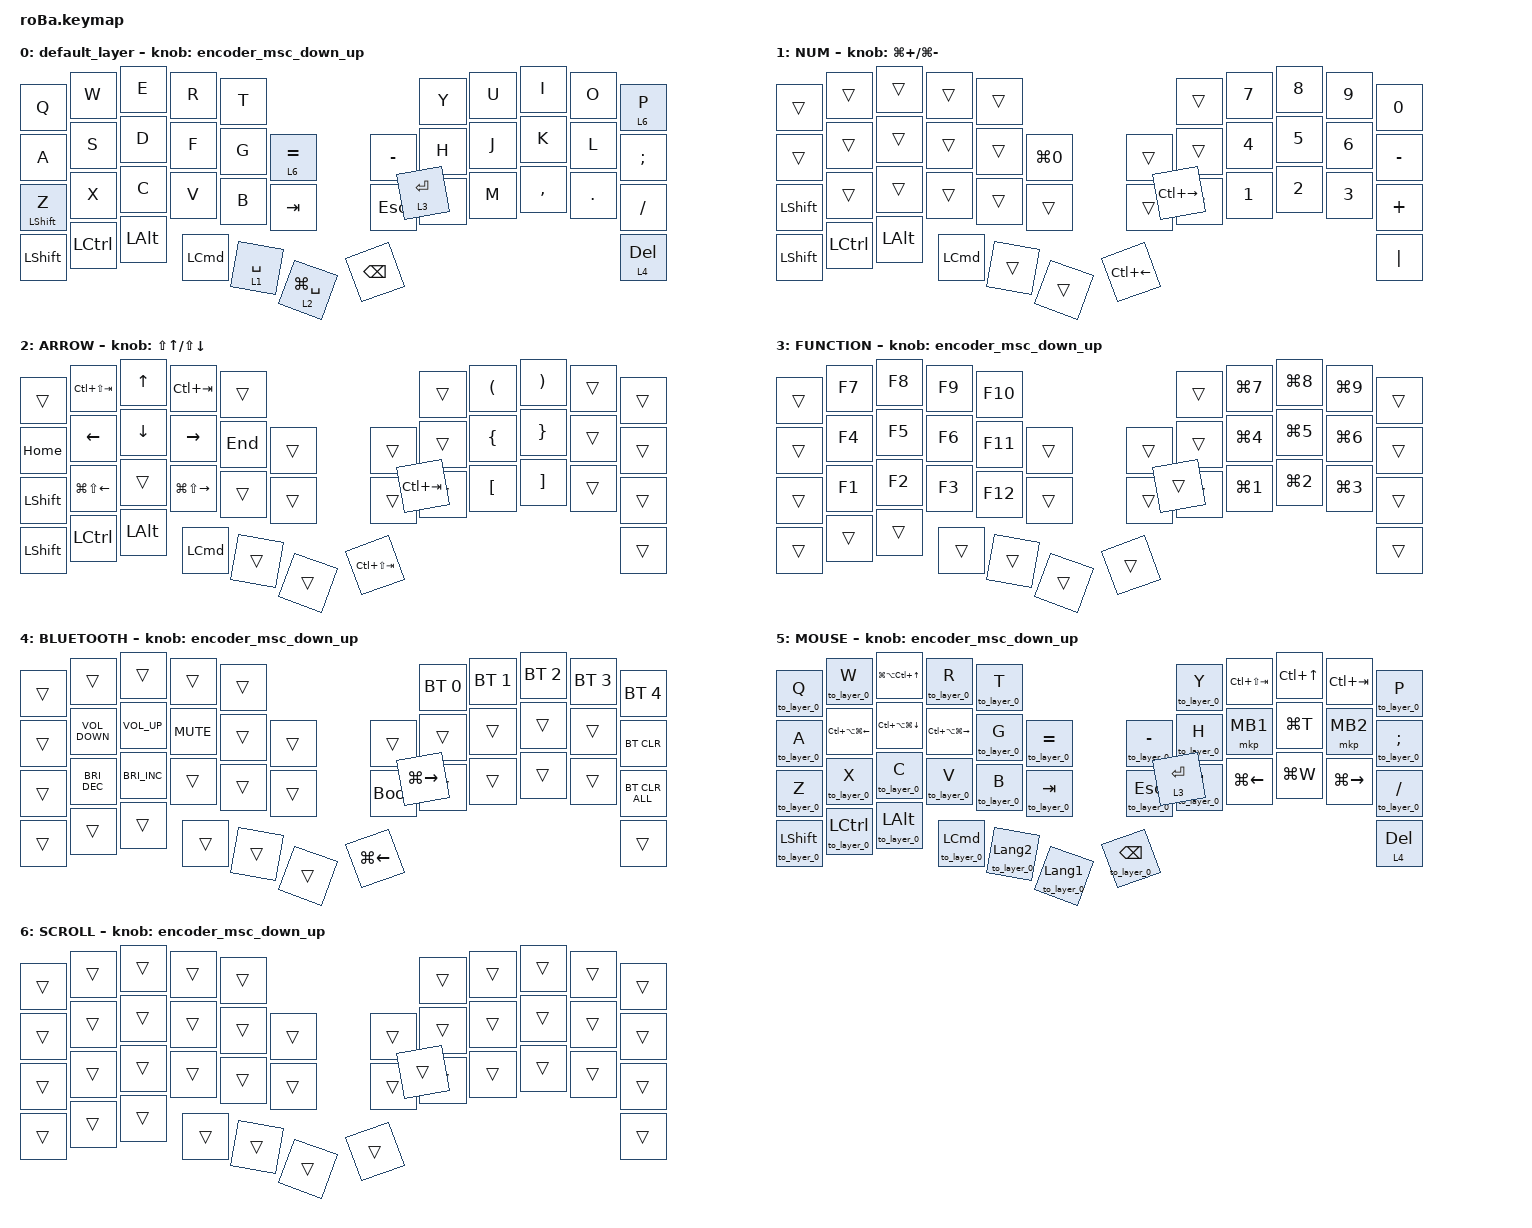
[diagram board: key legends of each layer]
#include <behaviors.dtsi>
#include <dt-bindings/zmk/bt.h>
#include <dt-bindings/zmk/keys.h>
#include <dt-bindings/zmk/pointing.h>

#define ZMK_POINTING_DEFAULT_SCRL_VAL 80

&mt {
    flavor = "balanced";
    quick-tap-ms = <0>;
};

&trackball {
    automouse-layer = <5>;
    scroll-layers = <6>;
};

/ {
    combos {
        compatible = "zmk,combos";

        single_quotation {
            bindings = <&kp SINGLE_QUOTE>;
            key-positions = <20 21>;
        };

        double_quotation {
            bindings = <&kp DOUBLE_QUOTES>;
            key-positions = <20 21 34>;
        };

        escape {
            bindings = <&kp ESCAPE>;
            key-positions = <11 10>;
        };

        tab {
            bindings = <&kp TAB>;
            key-positions = <0 1>;
        };

        left_bracket {
            bindings = <&kp LEFT_BRACKET>;
            key-positions = <8 7>;
        };

        right_bracket {
            bindings = <&kp RIGHT_BRACKET>;
            key-positions = <8 9>;
        };
    };

    macros {
        to_layer_0: to_layer_0 {
            compatible = "zmk,behavior-macro-one-param";
            #binding-cells = <1>;
            bindings = <&to 0 &macro_param_1to1 &kp MACRO_PLACEHOLDER>;
            label = "TO_LAYER_0";
        };
    };

    behaviors {
        lt_to_layer_0: lt_to_layer_0 {
            compatible = "zmk,behavior-hold-tap";
            label = "LAYER_TAP_TO_0";
            bindings = <&mo>, <&to_layer_0>;

            #binding-cells = <2>;
            tapping-term-ms = <200>;
        };

        encoder_msc_down_up: encoder_msc_down_up {
            compatible = "zmk,behavior-sensor-rotate";
            label = "ENCODER_MSC_DOWN_UP";
            #sensor-binding-cells = <0>;
            bindings = <&msc SCRL_DOWN>, <&msc SCRL_UP>;

            tap-ms = <20>;
        };
    };

    keymap {
        compatible = "zmk,keymap";

        default_layer {
            bindings = <
&kp Q             &kp W             &kp E         &kp R             &kp T                                            &kp Y        &kp U  &kp I      &kp O    &lt 6 P
&kp A             &kp S             &kp D         &kp F             &kp G        &lt 6 EQUAL          &kp MINUS      &kp H        &kp J  &kp K      &kp L    &kp SEMICOLON
&mt LEFT_SHIFT Z  &kp X             &kp C         &kp V             &kp B        &kp TAB              &kp ESCAPE     &kp N        &kp M  &kp COMMA  &kp DOT  &kp SLASH
&kp LEFT_SHIFT    &kp LEFT_CONTROL  &kp LEFT_ALT  &kp LEFT_COMMAND  &lt 1 SPACE  &lt 2 LG(SPACE)      &kp BACKSPACE  &lt 3 ENTER                             &lt 4 DELETE
            >;

            sensor-bindings = <&encoder_msc_down_up>;
        };

        NUM {
            bindings = <
&trans          &trans            &trans        &trans            &trans                                &trans               &kp N7        &kp N8        &kp N9        &kp N0
&trans          &trans            &trans        &trans            &trans  &kp LG(N0)      &trans        &trans               &kp NUMBER_4  &kp N5        &kp NUMBER_6  &kp MINUS
&kp LEFT_SHIFT  &trans            &trans        &trans            &trans  &trans          &trans        &kp EQUAL            &kp NUMBER_1  &kp NUMBER_2  &kp NUMBER_3  &kp PLUS
&kp LEFT_SHIFT  &kp LEFT_CONTROL  &kp LEFT_ALT  &kp LEFT_COMMAND  &trans  &trans          &kp LC(LEFT)  &kp LC(RIGHT_ARROW)                                            &kp PIPE
            >;

            sensor-bindings = <&inc_dec_kp LG(PLUS) LG(MINUS)>;
        };

        ARROW {
            bindings = <
&trans          &kp LC(LS(TAB))         &kp UP_ARROW    &kp LC(TAB)              &trans                                &trans       &kp LEFT_PARENTHESIS  &kp RIGHT_PARENTHESIS  &trans  &trans
&kp HOME        &kp LEFT_ARROW          &kp DOWN_ARROW  &kp RIGHT_ARROW          &kp END  &trans      &trans           &trans       &kp LEFT_BRACE        &kp RIGHT_BRACE        &trans  &trans
&kp LEFT_SHIFT  &kp LG(LS(LEFT_ARROW))  &trans          &kp LG(LS(RIGHT_ARROW))  &trans   &trans      &trans           &trans       &kp LEFT_BRACKET      &kp RIGHT_BRACKET      &trans  &trans
&kp LEFT_SHIFT  &kp LEFT_CONTROL        &kp LEFT_ALT    &kp LEFT_COMMAND         &trans   &trans      &kp LC(LS(TAB))  &kp LC(TAB)                                                       &trans
            >;

            sensor-bindings = <&inc_dec_kp LS(UP_ARROW) LS(DOWN_ARROW)>;
        };

        FUNCTION {
            bindings = <
&trans  &kp F7  &kp F8  &kp F9  &kp F10                      &trans  &kp LG(N7)        &kp LG(N8)        &kp LG(N9)        &trans
&trans  &kp F4  &kp F5  &kp F6  &kp F11  &trans      &trans  &trans  &kp LG(NUMBER_4)  &kp LG(N5)        &kp LG(NUMBER_6)  &trans
&trans  &kp F1  &kp F2  &kp F3  &kp F12  &trans      &trans  &trans  &kp LG(NUMBER_1)  &kp LG(NUMBER_2)  &kp LG(NUMBER_3)  &trans
&trans  &trans  &trans  &trans  &trans   &trans      &trans  &trans                                                        &trans
            >;

            sensor-bindings = <&encoder_msc_down_up>;
        };

        BLUETOOTH {
            bindings = <
&trans  &trans                &trans                &trans      &trans                                  &bt BT_SEL 0         &bt BT_SEL 1  &bt BT_SEL 2  &bt BT_SEL 3  &bt BT_SEL 4
&trans  &kp C_VOLUME_DOWN     &kp C_VOLUME_UP       &kp K_MUTE  &trans  &trans      &trans              &trans               &trans        &trans        &trans        &bt BT_CLR
&trans  &kp C_BRIGHTNESS_DEC  &kp C_BRIGHTNESS_INC  &trans      &trans  &trans      &bootloader         &trans               &trans        &trans        &trans        &bt BT_CLR_ALL
&trans  &trans                &trans                &trans      &trans  &trans      &kp LG(LEFT_ARROW)  &kp LG(RIGHT_ARROW)                                            &trans
            >;

            sensor-bindings = <&encoder_msc_down_up>;
        };

        MOUSE {
            bindings = <
&to_layer_0 Q           &to_layer_0 W               &kp LG(LA(LC(UP_ARROW)))    &to_layer_0 R                &to_layer_0 T                                                              &to_layer_0 Y           &kp LC(LS(TAB))     &kp LC(UP_ARROW)  &kp LC(TAB)          &to_layer_0 P
&to_layer_0 A           &kp LC(LA(LG(LEFT_ARROW)))  &kp LC(LA(LG(DOWN_ARROW)))  &kp LC(LA(LG(RIGHT_ARROW)))  &to_layer_0 G           &to_layer_0 EQUAL           &to_layer_0 MINUS      &to_layer_0 H           &mkp MB1            &kp LG(T)         &mkp MB2             &to_layer_0 SEMI
&to_layer_0 Z           &to_layer_0 X               &to_layer_0 C               &to_layer_0 V                &to_layer_0 B           &to_layer_0 TAB             &to_layer_0 ESCAPE     &to_layer_0 N           &kp LG(LEFT_ARROW)  &kp LG(W)         &kp LG(RIGHT_ARROW)  &to_layer_0 SLASH
&to_layer_0 LEFT_SHIFT  &to_layer_0 LEFT_CONTROL    &to_layer_0 LEFT_ALT        &to_layer_0 LEFT_COMMAND     &to_layer_0 LANGUAGE_2  &to_layer_0 LANGUAGE_1      &to_layer_0 BACKSPACE  &lt_to_layer_0 3 ENTER                                                             &lt 4 DELETE
            >;

            sensor-bindings = <&encoder_msc_down_up>;
        };

        SCROLL {
            bindings = <
&trans  &trans  &trans  &trans  &trans                      &trans  &trans  &trans  &trans  &trans
&trans  &trans  &trans  &trans  &trans  &trans      &trans  &trans  &trans  &trans  &trans  &trans
&trans  &trans  &trans  &trans  &trans  &trans      &trans  &trans  &trans  &trans  &trans  &trans
&trans  &trans  &trans  &trans  &trans  &trans      &trans  &trans                          &trans
            >;

            sensor-bindings = <&encoder_msc_down_up>;
        };
    };
};
